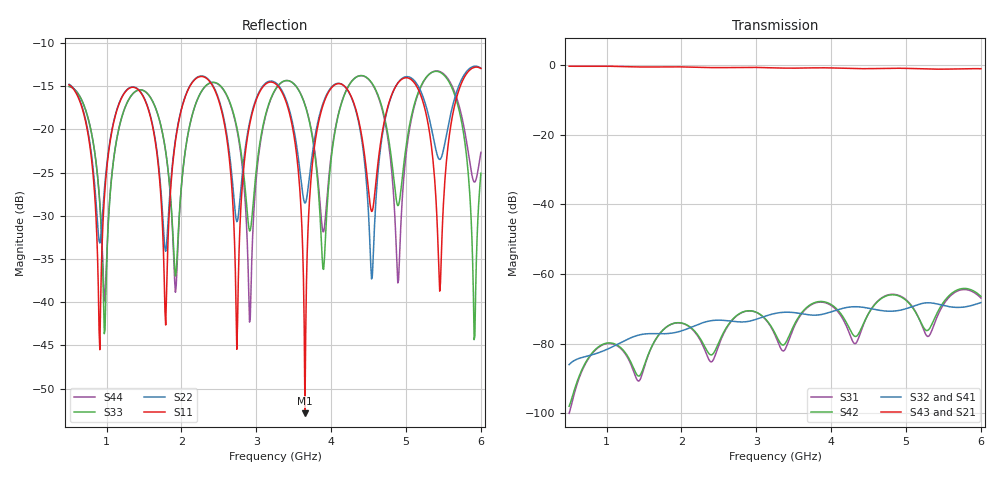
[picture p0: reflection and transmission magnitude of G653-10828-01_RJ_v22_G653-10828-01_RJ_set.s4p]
! Touchstone file exported from HFSS 3D Layout Design 2025.1.0
!  File:  C:/Users/pricewu/Documents/Ansoft/G653-10828-01_RJ_v22.aedt
!  Generated:  08:56:32 AM Apr 27, 2026
!  Design:  G653-10828-01_RJ_set
!  Project:  G653-10828-01_RJ_v22
!  Setup:  Setup1
!  Solution:  Sweep1
# GHz S MA R 50.000000
! Terminal data exported
! Port[1] = ANT6_CLB
! Port[2] = ANT6_SLB
! Port[3] = ANT7_CLB
! Port[4] = ANT7_SLB
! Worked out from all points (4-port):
!   551 points, 500 MHz to 6 GHz, reference 50 ohm
!   strongest paths, dB at 500 MHz, 1.87 GHz, 3.25 GHz, 4.63 GHz, 6 GHz:
!     S43: -0.4, -0.5, -0.9, -1.0, -1.1
!     S21: -0.4, -0.6, -0.9, -1.0, -1.4
!     S32: -86.0, -77.0, -71.3, -70.3, -68.2
!     S41: -86.0, -77.0, -71.3, -70.2, -68.2
!     S42: -97.9, -74.3, -77.0, -67.7, -66.4
!     S31: -100.0, -74.4, -77.5, -67.6, -66.9
!   lowest |S11| = -52.9 dB at 3.65 GHz (marker M1), VSWR 1.00, Z = 49.8 - j0.0134 ohm
!   |S11| at or under -10 dB: start of sweep to end of sweep
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0.5  0.181 173.6  0.9553 -98.3  1.005e-05 102.8  5.025e-05 171.3
     0.9553 -98.3  0.1823 178.8  5.025e-05 171.6  1.267e-05 101.7
     1.005e-05 102.8  5.025e-05 171.6  0.177 -177.4  0.9585 -91.6
     5.025e-05 171.3  1.267e-05 101.7  0.9585 -91.6  0.177 -177.1
1.35  0.1753 -169.8  0.9325 96.3  4.334e-05 53.8  0.000125 15.7
      0.9325 96.3  0.1761 -172.4  0.000125 15.2  4.754e-05 57.0
      4.334e-05 53.8  0.000125 15.2  0.1605 -153.2  0.9392 114.2
      0.000125 15.7  4.754e-05 57.0  0.9392 114.2  0.1606 -155.1
2.48  0.1551 150.7  0.9132 -122.0  8.354e-05 126.8  0.0002178 158.9
      0.9132 -122.0  0.1575 156.4  0.000218 159.0  9.361e-05 119.9
      8.354e-05 126.8  0.000218 159.0  0.1843 -175.4  0.9148 -89.3
      0.0002178 158.9  9.361e-05 119.9  0.9148 -89.3  0.1837 -178.1
3.65  0.002276 -176.6  0.9064 11.0  0.0003068 120.3  0.0002638 -61.8
      0.9064 11.0  0.03739 -171.5  0.0002651 -62.3  0.0003146 117.7
      0.0003068 120.3  0.0002651 -62.3  0.1385 153.8  0.9043 60.2
      0.0002638 -61.8  0.0003146 117.7  0.9043 60.2  0.1394 160.2
4.22  0.1691 -179.5  0.8859 -99.0  0.0001634 56.9  0.0003334 -159.4
      0.8859 -99.0  0.1685 169.8  0.0003333 -161.5  0.0001868 60.3
      0.0001634 56.9  0.0003333 -161.5  0.174 -135.2  0.8923 -43.5
      0.0003334 -159.4  0.0001868 60.3  0.8923 -43.5  0.1747 -137.0
4.99  0.1988 -163.0  0.8716 111.7  0.0004375 67.2  0.0003212 59.2
      0.8716 111.7  0.2013 -152.9  0.0003162 58.6  0.0004286 67.3
      0.0004375 67.2  0.0003162 58.6  0.07343 -122.1  0.8939 178.1
      0.0003212 59.2  0.0004286 67.3  0.8939 178.1  0.06518 -99.5
6  0.2252 -160.9  0.8526 -83.1  0.0004543 64.7  0.0003885 -127.5
   0.8526 -83.1  0.2259 179.8  0.0003899 -129.3  0.0004793 62.2
   0.0004543 64.7  0.0003899 -129.3  0.05571 -98.5  0.8824 -3.4
   0.0003885 -127.5  0.0004793 62.2  0.8824 -3.4  0.07353 -132.0
